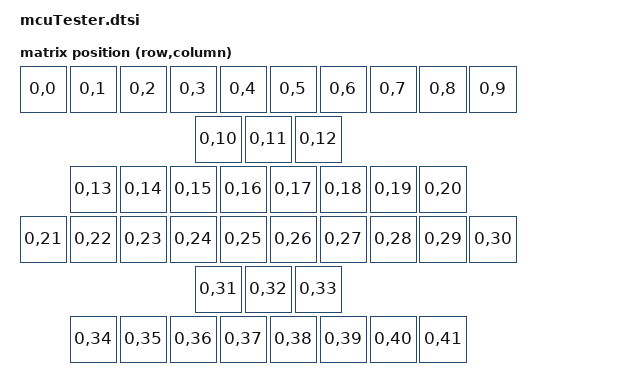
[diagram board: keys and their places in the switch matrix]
#include <dt-bindings/zmk/matrix_transform.h>
#include <physical_layouts.dtsi>

/ {
    default_kscan: kscan {
    // https://zmk.dev/docs/config/kscan#direct-gpio-driver
        compatible = "zmk,kscan-gpio-direct";
        label = "default_kscan";
        wakeup-source;
    };

    default_transform: matrix_transform {
        compatible = "zmk,matrix-transform";
        rows = <1>;
        columns = <42>;
        map = <
            RC(0,0) RC(0,1) RC(0,2) RC(0,3) RC(0,4) RC(0,5) RC(0,6) RC(0,7) RC(0,8) RC(0,9) 
            RC(0,10) RC(0,11) RC(0,12) 
            RC(0,13) RC(0,14) RC(0,15) RC(0,16) RC(0,17) RC(0,18) RC(0,19) RC(0,20)
            
            
            RC(0,21) RC(0,22) RC(0,23) RC(0,24) RC(0,25) RC(0,26) RC(0,27) RC(0,28) RC(0,29) RC(0,30) 
            RC(0,31) RC(0,32) RC(0,33) 
            RC(0,34) RC(0,35) RC(0,36) RC(0,37) RC(0,38) RC(0,39) RC(0,40) RC(0,41)  
        >;
    };

    physical_layout0: physical_layout_0 {
        compatible = "zmk,physical-layout";
        display-name = "Default Layout";
        kscan = <&default_kscan>;
        transform = <&default_transform>; 
    };

    chosen {
        zmk,physical-layout = &physical_layout0;
    };

};

